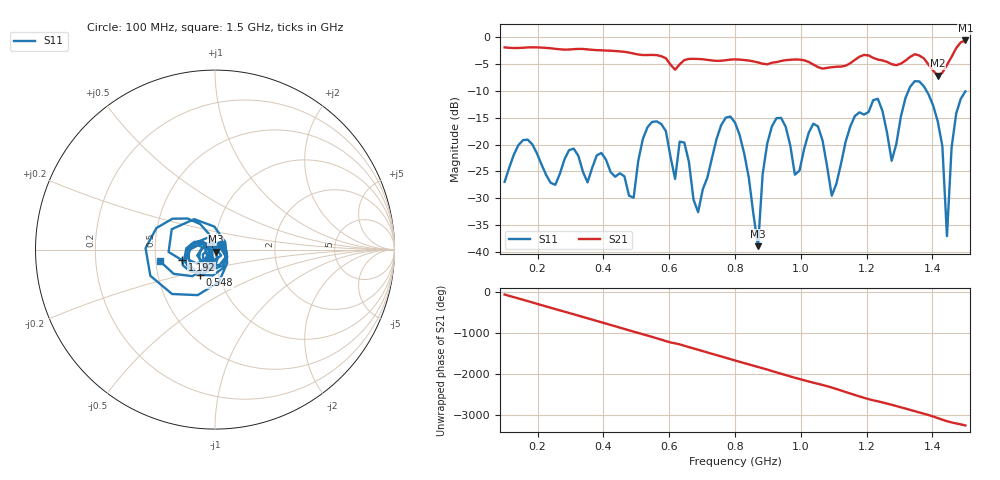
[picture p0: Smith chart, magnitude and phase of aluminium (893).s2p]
! NanoVNA-App
! Date: 2025-09-25 15:02:14
! Start: 100MHz Stop: 1,5GHz Points: 101
! S-Parameter data: F S11 S21 S12 S22
# Hz S RI R 50
!  Frequency  S11_Real  S11_Imag  S21_Real  S21_Imag  S12_Real  S12_Imag  S22_Real  S22_Imag
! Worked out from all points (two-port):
!   101 points, 100 MHz to 1.5 GHz, reference 50 ohm
!   highest |S21| = -0.62 dB at 1.5 GHz (marker M1); lowest = -7.2 dB at 1.416 GHz (marker M2)
!   |S21| within 3 dB of the highest: start of sweep to 578.4 MHz; 1.459 GHz to end of sweep (the widest 2 of 4)
!   lowest |S11| = -38.9 dB at 870 MHz (marker M3), VSWR 1.02, Z = 50.3 - j1.1 ohm
!   |S11| at or under -10 dB: start of sweep to 1.327 GHz; 1.382 GHz to end of sweep
!   S12 and S22 are empty: the file has one direction only
!   S11 on the Smith chart (normalised r, x): 100 MHz: 1.07, +0.06; 548 MHz: 0.82, -0.24; 1.192 GHz: 0.69, -0.08; 1.5 GHz: 0.53, -0.08
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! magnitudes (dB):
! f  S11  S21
! 100 MHz  -27.0  -1.9
! 156 MHz  -19.2  -2.0
! 338 MHz  -25.1  -2.2
! 492 MHz  -29.9  -3.1
! 548 MHz  -15.8  -3.3
! 576 MHz  -16.2  -3.6
! 646 MHz  -19.6  -4.3
! 688 MHz  -32.6  -4.1
! 800 MHz  -15.9  -4.1
! 870 MHz  -38.9  -4.7
! 912 MHz  -16.6  -4.8
! 982 MHz  -25.6  -4.2
! 1.038 GHz  -16.1  -5.1
! 1.094 GHz  -29.5  -5.6
! 1.192 GHz  -14.4  -3.3
! 1.234 GHz  -11.5  -4.2
! 1.276 GHz  -23.0  -5.0
! 1.346 GHz  -8.2  -3.2
! 1.416 GHz  -15.7  -7.2
! 1.444 GHz  -37.1  -5.2
! 1.458 GHz  -20.6  -3.7
! 1.5 GHz  -10.1  -0.6
